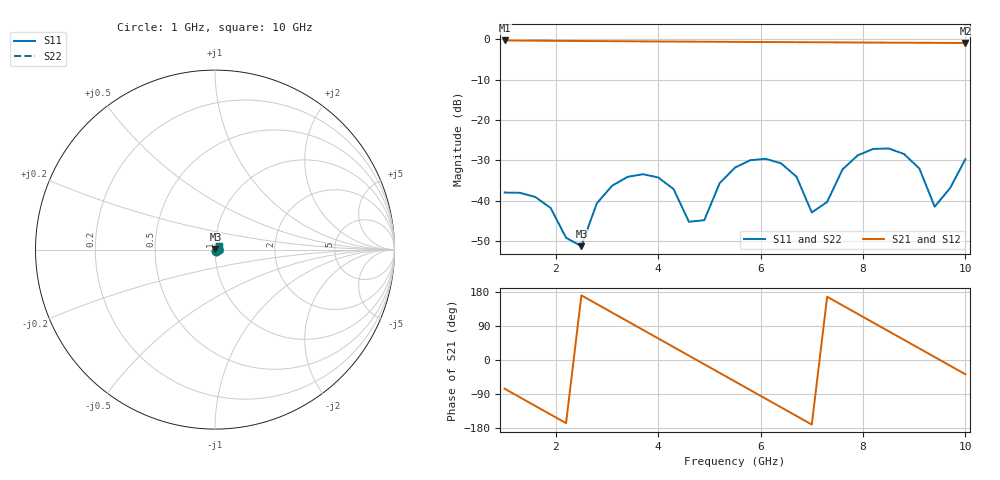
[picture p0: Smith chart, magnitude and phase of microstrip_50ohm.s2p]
! ELE v9.0.0 Benchmark: 50-ohm Lossy FR4 Microstrip Line (35 mm)
# GHZ S RI R 50.0
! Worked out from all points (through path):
!   31 points, 1 GHz to 10 GHz, reference 50 ohm
!   highest |S21| = -0.28 dB at 1 GHz (marker M1); lowest = -0.9 dB at 10 GHz (marker M2)
!   group delay of S21, straight-line fit = 210 ps
!   lowest |S11| = -51.3 dB at 2.5 GHz (marker M3), VSWR 1.01, Z = 50.2 + j0.168 ohm
!   |S11| at or under -10 dB: start of sweep to end of sweep
!   |S22| runs from -51.3 to -27.1 dB; largest |S21 - S12| = 0
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1  0.00819 -0.00953  0.2381 -0.9386  0.2381 -0.9386  0.00819 -0.00953
1.6  0.003 -0.0106  -0.4987 -0.8225  -0.4987 -0.8225  0.003 -0.0106
2.2  -0.000435 -0.00342  -0.9305 -0.2201  -0.9305 -0.2201  -0.000435 -0.00342
2.5  0.00214 0.00167  -0.9406 0.1561  -0.9406 0.1561  0.00214 0.00167
2.8  0.00795 0.00465  -0.805 0.506  -0.805 0.506  0.00795 0.00465
3.1  0.0149 0.00345  -0.5455 0.7756  -0.5455 0.7756  0.0149 0.00345
3.4  0.0195 -0.00199  -0.2029 0.9237  -0.2029 0.9237  0.0195 -0.00199
4  0.0137 -0.0136  0.5135 0.7887  0.5135 0.7887  0.0137 -0.0136
4.3  0.0063 -0.0124  0.7765 0.5278  0.7765 0.5278  0.0063 -0.0124
4.6  0.00168 -0.00518  0.918 0.1862  0.918 0.1862  0.00168 -0.00518
4.9  0.00368 0.00434  0.9165 -0.1826  0.9165 -0.1826  0.00368 0.00434
5.2  0.0124 0.0107  0.7728 -0.5214  0.7728 -0.5214  0.0124 0.0107
5.5  0.0238 0.00956  0.5101 -0.7775  0.5101 -0.7775  0.0238 0.00956
5.8  0.0316 0.000958  0.1697 -0.912  0.1697 -0.912  0.0316 0.000958
6.4  0.0226 -0.0181  -0.5285 -0.7576  -0.5285 -0.7576  0.0226 -0.0181
6.7  0.0108 -0.0166  -0.7787 -0.4935  -0.7787 -0.4935  0.0108 -0.0166
7  0.00352 -0.00618  -0.9071 -0.1538  -0.9071 -0.1538  0.00352 -0.00618
7.9  0.0335 0.0144  -0.4761 0.7796  -0.4761 0.7796  0.0335 0.0144
8.5  0.0423 -0.0131  0.2202 0.8824  0.2202 0.8824  0.0423 -0.0131
9.1  0.0146 -0.0202  0.7807 0.4605  0.7807 0.4605  0.0146 -0.0202
9.4  0.00539 -0.00641  0.8964 0.1225  0.8964 0.1225  0.00539 -0.00641
10  0.0246 0.0215  0.7123 -0.551  0.7123 -0.551  0.0246 0.0215
